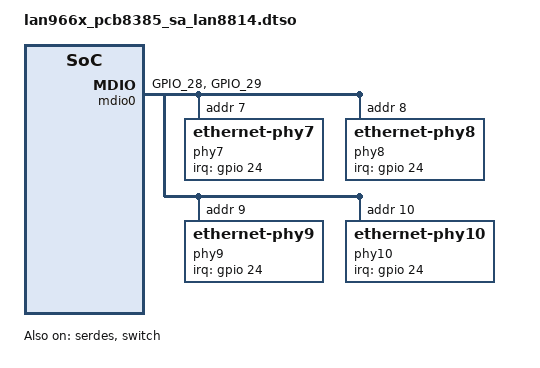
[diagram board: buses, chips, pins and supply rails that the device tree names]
// SPDX-License-Identifier: (GPL-2.0 OR MIT)
/dts-v1/;
/plugin/;

#include "phy-lan966x-serdes.h"
#include "arm-gic.h"
#include "irq.h"

/ {
	fragment@0 {
		target = <&mdio0>;
		__overlay__ {
			pinctrl-0 = <&miim_a_pins>;
			pinctrl-names = "default";
			status = "okay";

			phy7: ethernet-phy7 {
				reg = <7>;
				interrupts = <24 IRQ_TYPE_LEVEL_LOW>;
				interrupt-parent = <&gpio>;
			};
			phy8: ethernet-phy8 {
				reg = <8>;
				interrupts = <24 IRQ_TYPE_LEVEL_LOW>;
				interrupt-parent = <&gpio>;
			};
			phy9: ethernet-phy9 {
				reg = <9>;
				interrupts = <24 IRQ_TYPE_LEVEL_LOW>;
				interrupt-parent = <&gpio>;
			};
			phy10: ethernet-phy10 {
				reg = <10>;
				interrupts = <24 IRQ_TYPE_LEVEL_LOW>;
				interrupt-parent = <&gpio>;
			};
		};
	};

	fragment@1 {
		target = <&port0>;
		__overlay__ {
			reg = <2>;
			status = "okay";
			phy-handle = <&phy9>;
			phy-mode = "qsgmii";
			phys = <&serdes 0 SERDES6G(1)>;
		};
	};

	fragment@2 {
		target = <&port1>;
		__overlay__ {
			reg = <3>;
			status = "okay";
			phy-handle = <&phy10>;
			phy-mode = "qsgmii";
			phys = <&serdes 1 SERDES6G(1)>;
		};
	};

	fragment@3 {
		target = <&port2>;
		__overlay__ {
			reg = <0>;
			status = "okay";
			phy-handle = <&phy7>;
			phy-mode = "qsgmii";
			phys = <&serdes 2 SERDES6G(1)>;
		};
	};

	fragment@4 {
		target = <&port3>;
		__overlay__ {
			reg = <1>;
			status = "okay";
			phy-handle = <&phy8>;
			phy-mode = "qsgmii";
			phys = <&serdes 3 SERDES6G(1)>;
		};
	};

	fragment@5 {
		target = <&serdes>;
		__overlay__ {
			status = "okay";
			microchip,s1-tx-inverted;
		};
	};

	fragment@6 {
		target = <&gpio>;
		__overlay__ {
			miim_a_pins: mdio-pins {
				/* MDC, MDIO */
				pins =  "GPIO_28", "GPIO_29";
				function = "miim_a";
			};
		};
	};

	fragment@7 {
		target = <&switch>;
		__overlay__ {
			status = "okay";
		};
	};
};
